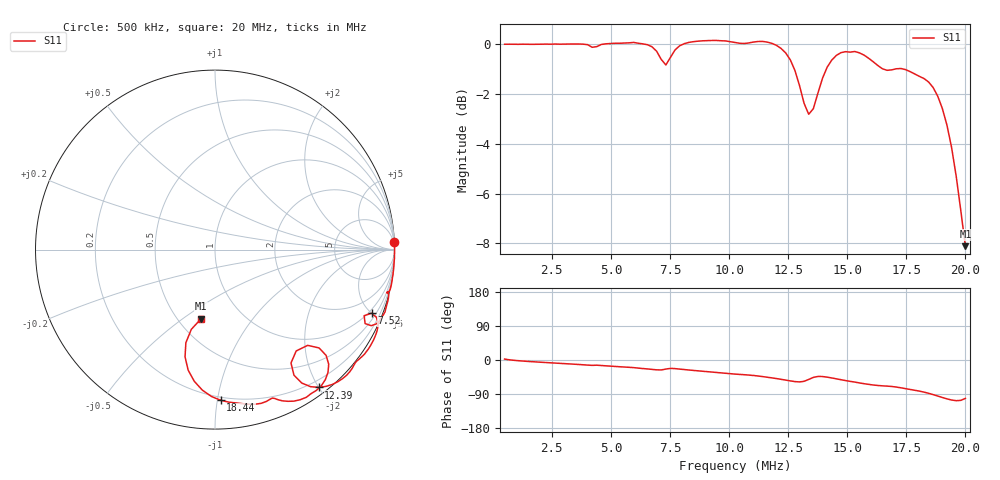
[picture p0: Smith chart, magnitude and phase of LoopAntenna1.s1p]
# HZ S RI R 50
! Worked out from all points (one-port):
!   101 points, 500 kHz to 20 MHz, reference 50 ohm
!   lowest |S11| = -8.1 dB at 20 MHz (marker M1), VSWR 2.29, Z = 32.3 - j29.4 ohm
!   |S11| at or under -10 dB: nowhere
!   S11 on the Smith chart (normalised r, x): 500 kHz: -1, +47; 7.52 MHz: 0.80, -5.00; 12.39 MHz: 0.10, -2.00; 18.44 MHz: 0.18, -1.02; 20 MHz: 0.65, -0.59
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500000  0.9997 0.0423
1280000  0.9996 -0.0494
3035000  0.9873 -0.1666
5375000  0.957 -0.3077
5960000  0.9476 -0.3466
6935000  0.8708 -0.4239
7325000  0.831 -0.3683
7520000  0.8727 -0.3544
7910000  0.9077 -0.4043
1.025e7  0.8039 -0.6097
1.142e7  0.732 -0.7014
1.2395e7  0.5782 -0.7677
1.2785e7  0.4831 -0.7433
1.3175e7  0.4234 -0.6319
1.3565e7  0.5165 -0.5334
1.3955e7  0.6192 -0.5897
1.415e7  0.6335 -0.6389
1.4735e7  0.5923 -0.7586
1.5125e7  0.5346 -0.803
1.571e7  0.4389 -0.8444
1.6685e7  0.3193 -0.8274
1.7075e7  0.2853 -0.8463
1.766e7  0.1877 -0.8613
1.844e7  0.0322 -0.8397
1.883e7  -0.07 -0.7835
1.9415e7  -0.1669 -0.5977
1.961e7  -0.1623 -0.5186
2e7  -0.0773 -0.385
